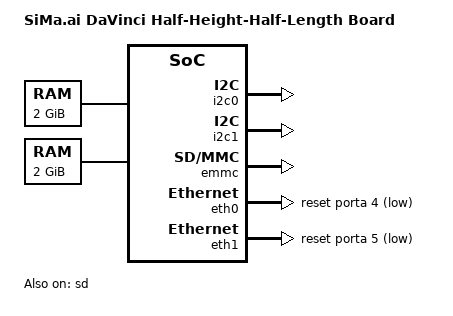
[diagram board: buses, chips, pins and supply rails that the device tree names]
// SPDX-License-Identifier: (GPL-2.0+ OR MIT)
/*
 * Copyright (c) 2023 SiMa ai
 */

/dts-v1/;

#include <dt-bindings/gpio/gpio.h>
#include "simaai-davinci-h.dtsi"


/ {
	model = "SiMa.ai DaVinci Half-Height-Half-Length Board";

	chosen {
		bootargs = "console=ttyS0,115200n8 root=/dev/ram0 rw rootfstype=ramfs";
	};

	aliases {
		ethernet0 = &eth0;
		ethernet1 = &eth1;
		mmc0 = &emmc;
		mmc1 = &sd;
		console   = &uart0;
	};
    
	memory@80000000 {
		device_type = "memory";
		reg = <0x0 0x80000000 0x0 0x80000000>;
	};

	memory@180000000 {
		device_type = "memory";
		reg = <0x1 0x80000000 0x0 0x80000000>;
	};
};

&i2c0 {
	status = "okay";
};

&i2c1 {
	status = "okay";
};

&emmc {
	status = "okay";
};

&sd {
	status = "okay";
};

&eth0 {
    snps,reset-gpio = <&porta 4 GPIO_ACTIVE_LOW>;
    snps,reset-delays-us = <0 20000 10000>;
	status = "okay";
};

&eth1 {
    snps,reset-gpio = <&porta 5 GPIO_ACTIVE_LOW>;
    snps,reset-delays-us = <0 20000 10000>;
	status = "okay";
};

&pcie_ep {
	status = "okay";
};
